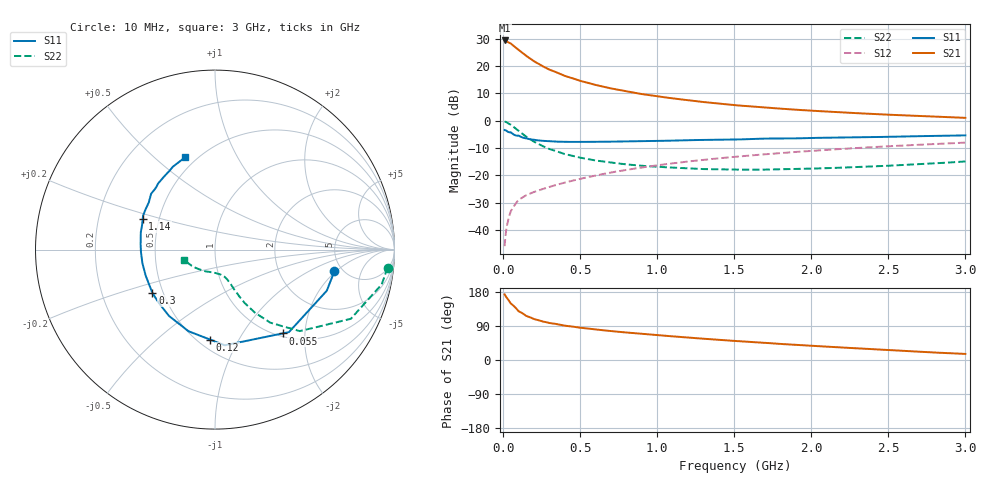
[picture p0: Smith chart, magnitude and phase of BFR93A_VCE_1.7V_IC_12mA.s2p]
! Infineon Technologies  Discrete & RF Semiconductors
! BFR93A
! VCE =  1.7 V,  IC =  12 mA
! Common Emitter S-Parameters:  Nov 2015
# GHz  S  MA  R  50
!  f  S11  S21  S12  S22
! GHz  MAG  ANG  MAG  ANG  MAG  ANG  MAG  ANG
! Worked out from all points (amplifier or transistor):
!   180 points, 10 MHz to 3 GHz, reference 50 ohm
!   highest |S21| = 29.4 dB at 10 MHz (marker M1)
!   |S21| within 3 dB of that: start of sweep to 90.89 MHz
!   unconditionally stable (mu >= 1): 495.8 MHz to end of sweep
!   at 160 MHz: K = 0.57, MSG = 25.2 dB, |S12| = -27.0 dB
!   at 1.22 GHz: K = 1.10, MAG = 9.2 dB, |S12| = -14.8 dB
!   at 3 GHz: K = 1.01, MAG = 3.8 dB, |S12| = -8.0 dB
!   S11 on the Smith chart (normalised r, x): 10 MHz: 4.28, -1.91; 55 MHz: 1.06, -1.54; 120 MHz: 0.57, -0.77; 300 MHz: 0.44, -0.26; 1.14 GHz: 0.40, +0.17; 3 GHz: 0.44, +0.63
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0.01  0.6761 -10.3  29.37 173.1  0.0051 86.1  0.9664 -6.0
0.02  0.6636 -20.2  28.82 166.5  0.01 80.1  0.9488 -11.8
0.05  0.6174 -48.1  25.86 149.2  0.0222 69.7  0.8493 -27.0
0.055  0.5999 -51.1  25.16 147.6  0.0235 68.1  0.8273 -28.3
0.1  0.5361 -84.1  19.94 129.0  0.0356 58.8  0.6549 -43.9
0.12  0.5025 -93.0  18 124.7  0.0387 57.1  0.5954 -47.0
0.15  0.4781 -108.0  15.34 116.4  0.0435 55.0  0.5103 -52.9
0.2  0.4499 -124.7  12.28 108.2  0.0498 54.7  0.415 -57.7
0.24  0.4338 -134.2  10.56 103.6  0.0544 55.2  0.3632 -59.9
0.26  0.4294 -138.4  9.84 101.4  0.0568 55.6  0.3413 -60.9
0.3  0.4241 -145.4  8.631 97.7  0.0617 56.5  0.305 -62.2
0.4  0.4125 -159.4  6.618 90.6  0.0739 58.7  0.2459 -64.3
0.52  0.4112 -170.9  5.197 84.4  0.0893 60.2  0.207 -65.7
0.6  0.4127 -177.0  4.519 80.5  0.0996 61.1  0.1878 -66.9
0.7  0.4151 177.0  3.9 76.3  0.1132 61.5  0.1719 -68.7
0.88  0.423 167.8  3.149 69.9  0.1372 61.4  0.1521 -73.1
1.02  0.4285 161.5  2.749 65.1  0.156 60.7  0.1431 -76.9
1.14  0.4375 157.0  2.488 61.2  0.1719 59.9  0.1371 -81.4
1.52  0.4546 144.0  1.911 49.9  0.2213 56.4  0.1276 -97.3
2.02  0.4864 130.3  1.519 37.1  0.2836 50.8  0.1339 -119.0
2.52  0.5111 118.8  1.284 25.9  0.344 44.5  0.1516 -139.9
3  0.5404 108.0  1.131 16.0  0.3984 37.9  0.1804 -160.4
